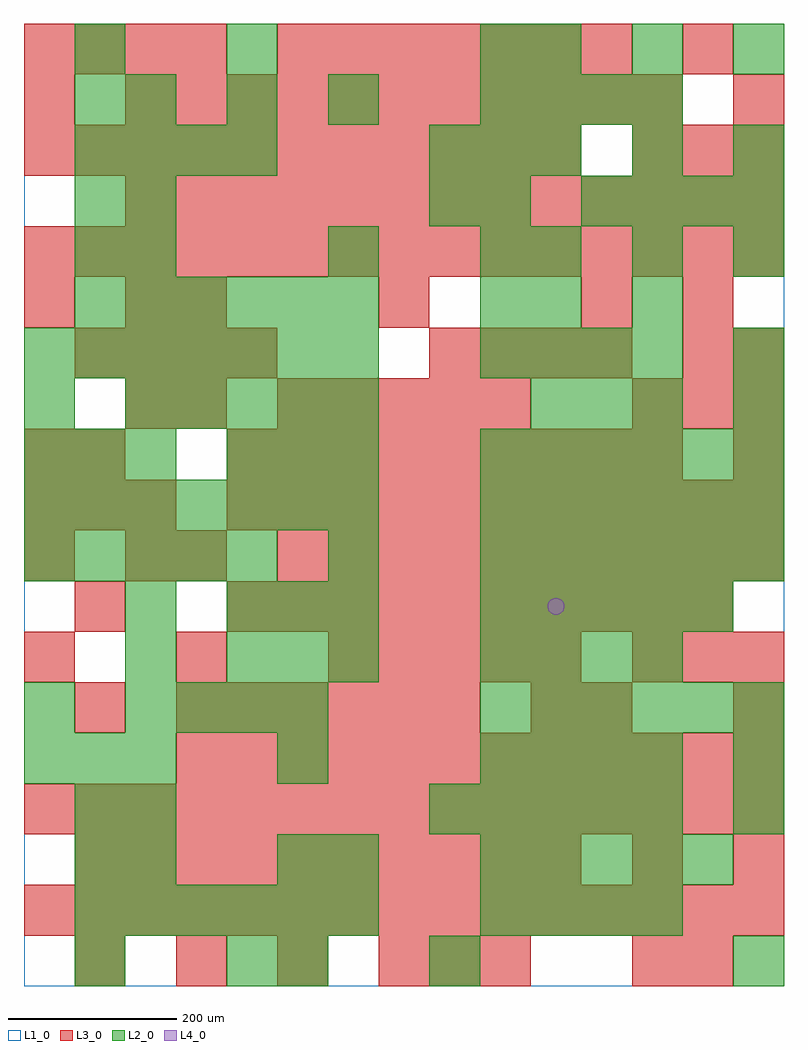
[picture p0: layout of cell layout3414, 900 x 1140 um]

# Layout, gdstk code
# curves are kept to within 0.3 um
import gdstk
lib = gdstk.Library(unit=1e-6, precision=1e-09)
def R(c, l, rs):  # rectangles x0, y0, x1, y1
    for r in rs: c.add(gdstk.rectangle(r[:2], r[2:], *l))
def A(c, l, x, y, w, h, nx, ny, dx, dy):  # array of equal rectangles
    R(c, l, [(x+i*dx, y+j*dy, x+i*dx+w, y+j*dy+h) for i in range(nx) for j in range(ny)])
def P(c, l, *ps):  # polygons
    for p in ps: c.add(gdstk.Polygon(p, *l))
L1_0 = (1, 0)
L2_0 = (2, 0)
L3_0 = (3, 0)
L4_0 = (4, 0)

layout3414 = lib.new_cell('layout3414')
R(layout3414, L1_0, [(0,0,900,1140)])
A(layout3414, L2_0, 300, 0, 60, 60, 1, 3, 0, 120)
A(layout3414, L2_0, 60, 60, 60, 60, 6, 2, 60, 720)
A(layout3414, L2_0, 540, 60, 60, 60, 4, 2, 60, 180)
A(layout3414, L2_0, 360, 120, 60, 60, 1, 3, 0, 360)
A(layout3414, L2_0, 540, 120, 60, 60, 5, 2, 60, 300)
A(layout3414, L2_0, 480, 180, 60, 60, 5, 1, 60, 0)
A(layout3414, L2_0, 0, 240, 60, 60, 3, 2, 60, 360)
A(layout3414, L2_0, 120, 300, 60, 60, 4, 1, 60, 0)
A(layout3414, L2_0, 540, 300, 60, 60, 6, 2, 60, 180)
A(layout3414, L2_0, 240, 360, 60, 60, 3, 2, 60, 60)
A(layout3414, L2_0, 540, 360, 60, 60, 4, 2, 60, 360)
A(layout3414, L2_0, 0, 480, 60, 60, 5, 1, 60, 0)
A(layout3414, L2_0, 0, 540, 60, 60, 7, 2, 60, 180)
A(layout3414, L2_0, 540, 540, 60, 60, 6, 2, 60, 60)
A(layout3414, L2_0, 240, 600, 60, 60, 3, 1, 60, 0)
A(layout3414, L2_0, 120, 660, 60, 60, 5, 1, 60, 0)
A(layout3414, L2_0, 600, 660, 60, 60, 3, 1, 60, 0)
A(layout3414, L2_0, 540, 780, 60, 60, 1, 3, 0, 60)
A(layout3414, L2_0, 600, 840, 60, 60, 3, 2, 120, 240)
A(layout3414, L2_0, 660, 900, 60, 60, 4, 1, 60, 0)
A(layout3414, L2_0, 60, 960, 60, 60, 4, 1, 60, 0)
A(layout3414, L2_0, 480, 960, 60, 60, 3, 1, 60, 0)
A(layout3414, L2_0, 120, 1020, 60, 60, 3, 1, 120, 0)
A(layout3414, L2_0, 540, 1020, 60, 60, 4, 1, 60, 0)
R(layout3414, L2_0, [(60,0,120,60), (240,0,300,60), (480,0,540,60), (840,0,900,60), (60,120,120,180), (120,120,180,180), (60,180,120,240), (120,180,180,240), (840,180,900,240), (840,240,900,300), (0,300,60,360), (120,360,180,420), (120,420,180,480), (0,660,60,720), (840,660,900,720), (840,720,900,780), (600,780,660,840), (720,780,780,840), (60,840,120,900), (120,840,180,900), (60,900,120,960), (120,900,180,960), (480,900,540,960), (720,960,780,1020), (840,960,900,1020), (60,1020,120,1080), (60,1080,120,1140), (240,1080,300,1140), (540,1080,600,1140)])
A(layout3414, L3_0, 60, 0, 60, 60, 4, 1, 120, 0)
A(layout3414, L3_0, 0, 60, 60, 60, 15, 2, 60, 120)
A(layout3414, L3_0, 60, 120, 60, 60, 10, 1, 60, 0)
A(layout3414, L3_0, 180, 240, 60, 60, 12, 1, 60, 0)
A(layout3414, L3_0, 180, 300, 60, 60, 6, 1, 60, 0)
A(layout3414, L3_0, 0, 360, 60, 60, 3, 1, 180, 0)
A(layout3414, L3_0, 420, 360, 60, 60, 4, 1, 60, 0)
A(layout3414, L3_0, 720, 360, 60, 60, 3, 3, 60, 300)
A(layout3414, L3_0, 240, 420, 60, 60, 10, 1, 60, 0)
A(layout3414, L3_0, 300, 480, 60, 60, 10, 1, 60, 0)
A(layout3414, L3_0, 0, 540, 60, 60, 3, 1, 60, 0)
A(layout3414, L3_0, 240, 540, 60, 60, 11, 1, 60, 0)
A(layout3414, L3_0, 240, 600, 60, 60, 9, 1, 60, 0)
A(layout3414, L3_0, 300, 660, 60, 60, 5, 1, 60, 0)
A(layout3414, L3_0, 60, 720, 60, 60, 4, 1, 60, 0)
A(layout3414, L3_0, 480, 720, 60, 60, 4, 1, 60, 0)
A(layout3414, L3_0, 180, 780, 60, 60, 3, 1, 240, 0)
A(layout3414, L3_0, 0, 840, 60, 60, 15, 1, 60, 0)
A(layout3414, L3_0, 120, 900, 60, 60, 13, 1, 60, 0)
A(layout3414, L3_0, 0, 960, 60, 60, 11, 1, 60, 0)
A(layout3414, L3_0, 120, 1020, 60, 60, 11, 1, 60, 0)
A(layout3414, L3_0, 0, 1080, 60, 60, 4, 1, 60, 0)
A(layout3414, L3_0, 300, 1080, 60, 60, 7, 1, 60, 0)
R(layout3414, L3_0, [(480,0,540,60), (540,0,600,60), (720,0,780,60), (780,0,840,60), (720,120,780,180), (840,120,900,180), (60,300,120,360), (600,300,660,360), (660,300,720,360), (840,300,900,360), (60,420,120,480), (0,480,60,540), (120,480,180,540), (180,480,240,540), (0,600,60,660), (60,600,120,660), (840,600,900,660), (120,660,180,720), (180,660,240,720), (780,720,840,780), (840,720,900,780), (0,780,60,840), (120,780,180,840), (780,780,840,840), (0,1020,60,1080), (840,1020,900,1080), (780,1080,840,1140)])
P(layout3414, L4_0, [(640,450),(639.239,453.827),(637.071,457.071),(633.827,459.239),(630,460),(626.173,459.239),(622.929,457.071),(620.761,453.827),(620,450),(620.761,446.173),(622.929,442.929),(626.173,440.761),(630,440),(633.827,440.761),(637.071,442.929),(639.239,446.173)])

lib.write_gds('layout3414.gds')
